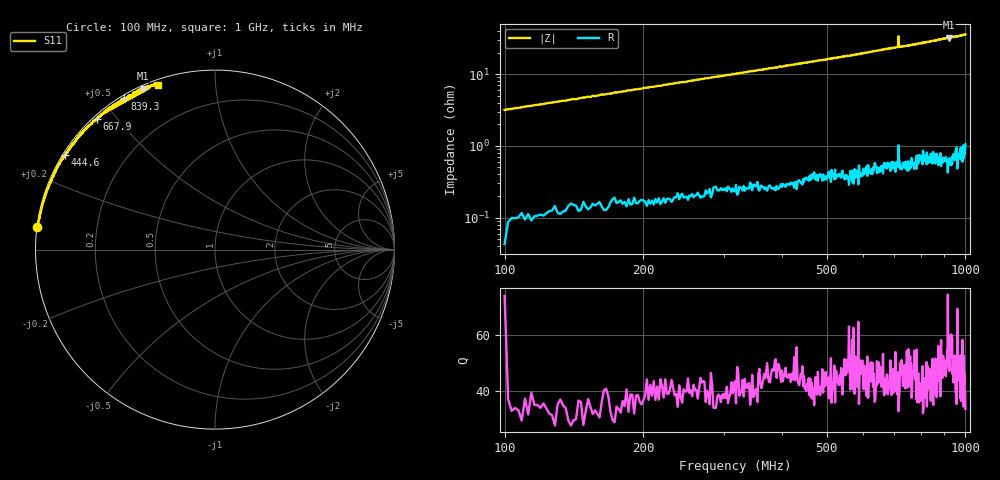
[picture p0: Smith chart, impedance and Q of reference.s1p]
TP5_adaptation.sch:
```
<QucsStudio Schematic 3.3.2>
<Properties>
View=0,-50,1343,800,1,0,21
Grid=10,10,1
DataSet=*.dat
DataDisplay=*.sch
OpenDisplay=1
showFrame=0
FrameText0=Title
FrameText1=Drawn By:
FrameText2=Date:
FrameText3=Revision:
</Properties>
<Symbol>
</Symbol>
<Components>
Pac P1 1 230 170 18 -26 0 0 "1" 1 "50 Ω" 1 "0 dBm" 0 "1 GHz" 0 "26.85" 0 "SUBCLICK" 0
GND * 1 230 200 0 0 0 0
.SP SP1 1 210 270 0 87 0 0 "lin" 1 "100 MHz" 1 "1000Mhz" 1 "505" 1 "no" 0 "1" 0 "2" 0 "none" 0
GND * 1 600 170 0 0 0 0
SPfile X1 1 600 140 -26 -49 0 0 "reference.s1p" 0 "1" 0 "polar" 0 "linear" 0 "short" 0 "none" 0 "block" 0 "SOT23" 0
Eqn Eqn1 1 220 550 0 8 0 0 "fre=400e6=" 1 "d=0.03=" 1 "rho=yvalue(S[1,1],fre)=" 0 "VSWR=(1+abs(rho))/(1-abs(rho))=" 0 "Zu=rtoz(rho)=" 0 "yes" 0
TLIN Line1 1 510 140 -26 20 0 0 "50 Ω" 1 "-d" 1 "0 dB" 0 "26.85" 0 "" 0 "" 0
</Components>
<Wires>
230 140 480 140 "" 0 0 0 ""
540 140 570 140 "" 0 0 0 ""
</Wires>
<Diagrams>
<Smith 720 470 410 410 31 #c0c0c0 1 00 1 0 1 1 1 0 4 1 1 0 4 1 315 0 225 "" "" "">
	<Legend 10 -100 0>
	<"S[1,1]" "" #0000ff 1 3 0 0 0 0 "">
	  <Mkr 4e+08 330 -310 3 1 0 0 0 50>
</Smith>
<Tab 660 620 580 70 71 #c0c0c0 1 00 1 0 1 1 1 0 1 1 1 0 1 1 315 0 225 "" "" "">
	<"fre" "" #0000ff 0 3 1 0 0 0 "">
	<"d" "" #0000ff 0 3 1 0 0 0 "">
	<"rho" "" #0000ff 0 3 1 0 0 0 "">
	<"VSWR" "" #0000ff 0 3 1 0 0 0 "">
	<"Zu" "" #0000ff 0 3 0 0 0 0 "">
</Tab>
</Diagrams>
<Paintings>
Rectangle 440 80 230 170 #000000 2 1 #c0c0c0 1 0
</Paintings>
```
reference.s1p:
# HZ S RI R 50
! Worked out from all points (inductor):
!   505 points, 100 MHz to 1 GHz, reference 50 ohm
!   read as one part to ground: L = 5.04 nH near 103.6 MHz
!   highest Q = 53.1 at 921.4 MHz (marker M1), where L = 5.58 nH
!   S11 on the Smith chart (normalised r, x): 100 MHz: 0.00, +0.06; 444.6 MHz: 0.01, +0.29; 667.9 MHz: 0.01, +0.44; 839.3 MHz: 0.01, +0.57; 1 GHz: 0.02, +0.71
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1e8  -0.9903 0.1259
2.482143e8  -0.9448 0.3035
4e8  -0.8704 0.4716
4.446428e8  -0.835 0.5269
6.678571e8  -0.6575 0.7284
6.999999e8  -0.6305 0.7545
7.107142e8  -0.615 0.7662
7.124999e8  -0.6204 0.7589
7.196428e8  -0.6103 0.7679
7.214285e8  -0.6163 0.7678
7.249999e8  -0.6162 0.7664
8.392856e8  -0.505 0.8424
9.214284e8  -0.4029 0.8958
9.999999e8  -0.3167 0.9194
